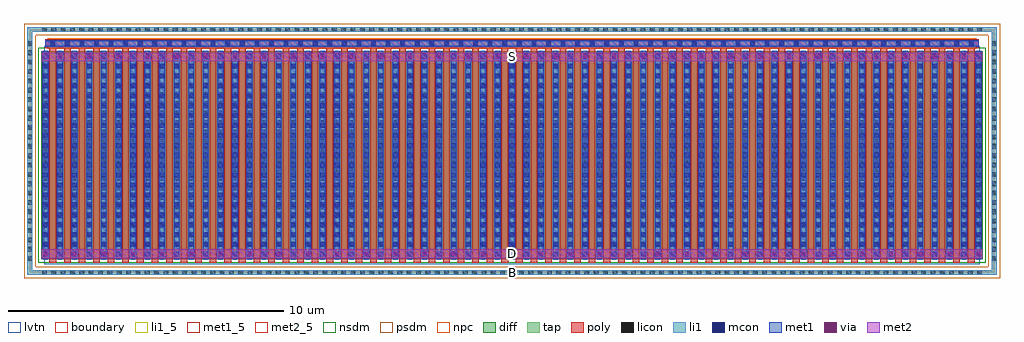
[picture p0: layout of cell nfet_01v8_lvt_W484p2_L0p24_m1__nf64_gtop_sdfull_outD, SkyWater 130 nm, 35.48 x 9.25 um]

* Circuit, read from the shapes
.subckt nfet_01v8_lvt_W484p2_L0p24_m1__nf64_gtop_sdfull_outD B D G S
XM1 S G D B sky130_fd_pr__nfet_01v8_lvt w=7.57 l=0.24 m=64
.ends

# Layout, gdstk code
import gdstk
lib = gdstk.Library(unit=1e-6, precision=1e-09)
def R(c, l, rs):  # rectangles x0, y0, x1, y1
    for r in rs: c.add(gdstk.rectangle(r[:2], r[2:], *l))
def A(c, l, x, y, w, h, nx, ny, dx, dy):  # array of equal rectangles
    R(c, l, [(x+i*dx, y+j*dy, x+i*dx+w, y+j*dy+h) for i in range(nx) for j in range(ny)])
diff = (65, 20)
tap = (65, 44)
poly = (66, 20)
licon = (66, 44)
li1_5 = (67, 5)
li1 = (67, 20)
mcon = (67, 44)
met1_5 = (68, 5)
met1 = (68, 20)
via = (68, 44)
met2_5 = (69, 5)
met2 = (69, 20)
nsdm = (93, 44)
psdm = (94, 20)
npc = (95, 20)
lvtn = (125, 44)
boundary = (235, 4)

sky130_fd_pr__nfet_01v8_ = lib.new_cell('sky130_fd_pr__nfet_01v8_lvt_552Z99')
R(sky130_fd_pr__nfet_01v8_, diff, [(-17.105,-3.94,17.105,3.63)])
R(sky130_fd_pr__nfet_01v8_, tap, [(-17.615,-4.5,17.615,-4.33), (-17.615,-4.33,-17.445,4.33), (17.445,-4.33,17.615,4.33), (-17.615,4.33,17.615,4.5)])
A(sky130_fd_pr__nfet_01v8_, poly, -16.815, -4.07, 0.24, 7.81, 64, 1, 0.53, 0)
R(sky130_fd_pr__nfet_01v8_, poly, [(-16.96,3.74,16.96,4.07)])
A(sky130_fd_pr__nfet_01v8_, licon, -17.085, -4.5, 0.17, 0.17, 101, 2, 0.34, 8.83)
A(sky130_fd_pr__nfet_01v8_, licon, -17.615, -3.995, 0.17, 0.17, 1, 24, 0, 0.34)
A(sky130_fd_pr__nfet_01v8_, licon, 17.445, -3.995, 0.17, 0.17, 1, 24, 0, 0.34)
A(sky130_fd_pr__nfet_01v8_, licon, -17.045, -3.81, 0.17, 0.17, 65, 22, 0.53, 0.34)
A(sky130_fd_pr__nfet_01v8_, licon, -16.78, 3.82, 0.17, 0.17, 64, 1, 0.53, 0)
A(sky130_fd_pr__nfet_01v8_, li1, -17.045, -3.96, 0.17, 7.61, 65, 1, 0.53, 0)
R(sky130_fd_pr__nfet_01v8_, li1, [(-17.615,-4.5,17.615,-4.33), (-17.615,-4.33,-17.445,4.33), (17.445,-4.33,17.615,4.33), (-16.96,3.82,16.96,3.99), (-17.615,4.33,17.615,4.5)])
A(sky130_fd_pr__nfet_01v8_, mcon, -17.045, -3.84, 0.17, 0.17, 65, 21, 0.53, 0.36)
A(sky130_fd_pr__nfet_01v8_, mcon, -16.78, 3.82, 0.17, 0.17, 64, 1, 0.53, 0)
A(sky130_fd_pr__nfet_01v8_, met1, -17.075, -3.94, 0.23, 7.57, 65, 1, 0.53, 0)
A(sky130_fd_pr__nfet_01v8_, met1, -16.84, 3.79, 0.29, 0.03, 64, 2, 0.53, 0.2)
R(sky130_fd_pr__nfet_01v8_, met1, [(-16.96,3.82,16.96,3.99)])
R(sky130_fd_pr__nfet_01v8_, nsdm, [(-17.23,-4.065,17.23,3.755)])
R(sky130_fd_pr__nfet_01v8_, psdm, [(-17.74,-4.625,17.74,-4.205), (-17.74,-4.205,-17.32,4.205), (17.32,-4.205,17.74,4.205), (-17.74,4.205,17.74,4.625)])
R(sky130_fd_pr__nfet_01v8_, npc, [(-16.88,3.72,16.88,4.09)])
R(sky130_fd_pr__nfet_01v8_, lvtn, [(-16.995,-4.12,16.995,3.81)])
R(sky130_fd_pr__nfet_01v8_, boundary, [(-17.53,-4.415,17.53,4.415)])
sky130_fd_pr__nfet_01v8_.add(gdstk.Label('B', (0,-4.415), layer=67, texttype=5))
sky130_fd_pr__nfet_01v8_.add(gdstk.Label('D0', (-16.96,-0.155), layer=67, texttype=5))
sky130_fd_pr__nfet_01v8_.add(gdstk.Label('G', (16.695,3.905), layer=67, texttype=5))
sky130_fd_pr__nfet_01v8_.add(gdstk.Label('G', (16.165,3.905), layer=67, texttype=5))
sky130_fd_pr__nfet_01v8_.add(gdstk.Label('G', (15.635,3.905), layer=67, texttype=5))
sky130_fd_pr__nfet_01v8_.add(gdstk.Label('G', (15.105,3.905), layer=67, texttype=5))
sky130_fd_pr__nfet_01v8_.add(gdstk.Label('G', (14.575,3.905), layer=67, texttype=5))
sky130_fd_pr__nfet_01v8_.add(gdstk.Label('G', (14.045,3.905), layer=67, texttype=5))
sky130_fd_pr__nfet_01v8_.add(gdstk.Label('G', (13.515,3.905), layer=67, texttype=5))
sky130_fd_pr__nfet_01v8_.add(gdstk.Label('G', (12.985,3.905), layer=67, texttype=5))
sky130_fd_pr__nfet_01v8_.add(gdstk.Label('G', (12.455,3.905), layer=67, texttype=5))
sky130_fd_pr__nfet_01v8_.add(gdstk.Label('G', (11.925,3.905), layer=67, texttype=5))
sky130_fd_pr__nfet_01v8_.add(gdstk.Label('G', (11.395,3.905), layer=67, texttype=5))
sky130_fd_pr__nfet_01v8_.add(gdstk.Label('G', (10.865,3.905), layer=67, texttype=5))
sky130_fd_pr__nfet_01v8_.add(gdstk.Label('G', (10.335,3.905), layer=67, texttype=5))
sky130_fd_pr__nfet_01v8_.add(gdstk.Label('G', (9.805,3.905), layer=67, texttype=5))
sky130_fd_pr__nfet_01v8_.add(gdstk.Label('G', (9.275,3.905), layer=67, texttype=5))
sky130_fd_pr__nfet_01v8_.add(gdstk.Label('G', (8.745,3.905), layer=67, texttype=5))
sky130_fd_pr__nfet_01v8_.add(gdstk.Label('G', (8.215,3.905), layer=67, texttype=5))
sky130_fd_pr__nfet_01v8_.add(gdstk.Label('G', (7.685,3.905), layer=67, texttype=5))
sky130_fd_pr__nfet_01v8_.add(gdstk.Label('G', (7.155,3.905), layer=67, texttype=5))
sky130_fd_pr__nfet_01v8_.add(gdstk.Label('G', (6.625,3.905), layer=67, texttype=5))
sky130_fd_pr__nfet_01v8_.add(gdstk.Label('G', (6.095,3.905), layer=67, texttype=5))
sky130_fd_pr__nfet_01v8_.add(gdstk.Label('G', (5.565,3.905), layer=67, texttype=5))
sky130_fd_pr__nfet_01v8_.add(gdstk.Label('G', (5.035,3.905), layer=67, texttype=5))
sky130_fd_pr__nfet_01v8_.add(gdstk.Label('G', (4.505,3.905), layer=67, texttype=5))
sky130_fd_pr__nfet_01v8_.add(gdstk.Label('G', (3.975,3.905), layer=67, texttype=5))
sky130_fd_pr__nfet_01v8_.add(gdstk.Label('G', (3.445,3.905), layer=67, texttype=5))
sky130_fd_pr__nfet_01v8_.add(gdstk.Label('G', (2.915,3.905), layer=67, texttype=5))
sky130_fd_pr__nfet_01v8_.add(gdstk.Label('G', (2.385,3.905), layer=67, texttype=5))
sky130_fd_pr__nfet_01v8_.add(gdstk.Label('G', (1.855,3.905), layer=67, texttype=5))
sky130_fd_pr__nfet_01v8_.add(gdstk.Label('G', (1.325,3.905), layer=67, texttype=5))
sky130_fd_pr__nfet_01v8_.add(gdstk.Label('G', (0.795,3.905), layer=67, texttype=5))
sky130_fd_pr__nfet_01v8_.add(gdstk.Label('G', (0.265,3.905), layer=67, texttype=5))
sky130_fd_pr__nfet_01v8_.add(gdstk.Label('G', (-0.265,3.905), layer=67, texttype=5))
sky130_fd_pr__nfet_01v8_.add(gdstk.Label('G', (-0.795,3.905), layer=67, texttype=5))
sky130_fd_pr__nfet_01v8_.add(gdstk.Label('G', (-1.325,3.905), layer=67, texttype=5))
sky130_fd_pr__nfet_01v8_.add(gdstk.Label('G', (-1.855,3.905), layer=67, texttype=5))
sky130_fd_pr__nfet_01v8_.add(gdstk.Label('G', (-2.385,3.905), layer=67, texttype=5))
sky130_fd_pr__nfet_01v8_.add(gdstk.Label('G', (-2.915,3.905), layer=67, texttype=5))
sky130_fd_pr__nfet_01v8_.add(gdstk.Label('G', (-3.445,3.905), layer=67, texttype=5))
sky130_fd_pr__nfet_01v8_.add(gdstk.Label('G', (-3.975,3.905), layer=67, texttype=5))
sky130_fd_pr__nfet_01v8_.add(gdstk.Label('G', (-4.505,3.905), layer=67, texttype=5))
sky130_fd_pr__nfet_01v8_.add(gdstk.Label('G', (-5.035,3.905), layer=67, texttype=5))
sky130_fd_pr__nfet_01v8_.add(gdstk.Label('G', (-5.565,3.905), layer=67, texttype=5))
sky130_fd_pr__nfet_01v8_.add(gdstk.Label('G', (-6.095,3.905), layer=67, texttype=5))
sky130_fd_pr__nfet_01v8_.add(gdstk.Label('G', (-6.625,3.905), layer=67, texttype=5))
sky130_fd_pr__nfet_01v8_.add(gdstk.Label('G', (-7.155,3.905), layer=67, texttype=5))
sky130_fd_pr__nfet_01v8_.add(gdstk.Label('G', (-7.685,3.905), layer=67, texttype=5))
sky130_fd_pr__nfet_01v8_.add(gdstk.Label('G', (-8.215,3.905), layer=67, texttype=5))
sky130_fd_pr__nfet_01v8_.add(gdstk.Label('G', (-8.745,3.905), layer=67, texttype=5))
sky130_fd_pr__nfet_01v8_.add(gdstk.Label('G', (-9.275,3.905), layer=67, texttype=5))
sky130_fd_pr__nfet_01v8_.add(gdstk.Label('G', (-9.805,3.905), layer=67, texttype=5))
sky130_fd_pr__nfet_01v8_.add(gdstk.Label('G', (-10.335,3.905), layer=67, texttype=5))
sky130_fd_pr__nfet_01v8_.add(gdstk.Label('G', (-10.865,3.905), layer=67, texttype=5))
sky130_fd_pr__nfet_01v8_.add(gdstk.Label('G', (-11.395,3.905), layer=67, texttype=5))
sky130_fd_pr__nfet_01v8_.add(gdstk.Label('G', (-11.925,3.905), layer=67, texttype=5))
sky130_fd_pr__nfet_01v8_.add(gdstk.Label('G', (-12.455,3.905), layer=67, texttype=5))
sky130_fd_pr__nfet_01v8_.add(gdstk.Label('G', (-12.985,3.905), layer=67, texttype=5))
sky130_fd_pr__nfet_01v8_.add(gdstk.Label('G', (-13.515,3.905), layer=67, texttype=5))
sky130_fd_pr__nfet_01v8_.add(gdstk.Label('G', (-14.045,3.905), layer=67, texttype=5))
sky130_fd_pr__nfet_01v8_.add(gdstk.Label('G', (-14.575,3.905), layer=67, texttype=5))
sky130_fd_pr__nfet_01v8_.add(gdstk.Label('G', (-15.105,3.905), layer=67, texttype=5))
sky130_fd_pr__nfet_01v8_.add(gdstk.Label('G', (-15.635,3.905), layer=67, texttype=5))
sky130_fd_pr__nfet_01v8_.add(gdstk.Label('G', (-16.165,3.905), layer=67, texttype=5))
sky130_fd_pr__nfet_01v8_.add(gdstk.Label('G', (-16.695,3.905), layer=67, texttype=5))
sky130_fd_pr__nfet_01v8_.add(gdstk.Label('S1', (-16.43,-0.155), layer=67, texttype=5))
sky130_fd_pr__nfet_01v8_.add(gdstk.Label('D2', (-15.9,-0.155), layer=67, texttype=5))
sky130_fd_pr__nfet_01v8_.add(gdstk.Label('S3', (-15.37,-0.155), layer=67, texttype=5))
sky130_fd_pr__nfet_01v8_.add(gdstk.Label('D4', (-14.84,-0.155), layer=67, texttype=5))
sky130_fd_pr__nfet_01v8_.add(gdstk.Label('S5', (-14.31,-0.155), layer=67, texttype=5))
sky130_fd_pr__nfet_01v8_.add(gdstk.Label('D6', (-13.78,-0.155), layer=67, texttype=5))
sky130_fd_pr__nfet_01v8_.add(gdstk.Label('S7', (-13.25,-0.155), layer=67, texttype=5))
sky130_fd_pr__nfet_01v8_.add(gdstk.Label('D8', (-12.72,-0.155), layer=67, texttype=5))
sky130_fd_pr__nfet_01v8_.add(gdstk.Label('S9', (-12.19,-0.155), layer=67, texttype=5))
sky130_fd_pr__nfet_01v8_.add(gdstk.Label('D10', (-11.66,-0.155), layer=67, texttype=5))
sky130_fd_pr__nfet_01v8_.add(gdstk.Label('S11', (-11.13,-0.155), layer=67, texttype=5))
sky130_fd_pr__nfet_01v8_.add(gdstk.Label('D12', (-10.6,-0.155), layer=67, texttype=5))
sky130_fd_pr__nfet_01v8_.add(gdstk.Label('S13', (-10.07,-0.155), layer=67, texttype=5))
sky130_fd_pr__nfet_01v8_.add(gdstk.Label('D14', (-9.54,-0.155), layer=67, texttype=5))
sky130_fd_pr__nfet_01v8_.add(gdstk.Label('S15', (-9.01,-0.155), layer=67, texttype=5))
sky130_fd_pr__nfet_01v8_.add(gdstk.Label('D16', (-8.48,-0.155), layer=67, texttype=5))
sky130_fd_pr__nfet_01v8_.add(gdstk.Label('S17', (-7.95,-0.155), layer=67, texttype=5))
sky130_fd_pr__nfet_01v8_.add(gdstk.Label('D18', (-7.42,-0.155), layer=67, texttype=5))
sky130_fd_pr__nfet_01v8_.add(gdstk.Label('S19', (-6.89,-0.155), layer=67, texttype=5))
sky130_fd_pr__nfet_01v8_.add(gdstk.Label('D20', (-6.36,-0.155), layer=67, texttype=5))
sky130_fd_pr__nfet_01v8_.add(gdstk.Label('S21', (-5.83,-0.155), layer=67, texttype=5))
sky130_fd_pr__nfet_01v8_.add(gdstk.Label('D22', (-5.3,-0.155), layer=67, texttype=5))
sky130_fd_pr__nfet_01v8_.add(gdstk.Label('S23', (-4.77,-0.155), layer=67, texttype=5))
sky130_fd_pr__nfet_01v8_.add(gdstk.Label('D24', (-4.24,-0.155), layer=67, texttype=5))
sky130_fd_pr__nfet_01v8_.add(gdstk.Label('S25', (-3.71,-0.155), layer=67, texttype=5))
sky130_fd_pr__nfet_01v8_.add(gdstk.Label('D26', (-3.18,-0.155), layer=67, texttype=5))
sky130_fd_pr__nfet_01v8_.add(gdstk.Label('S27', (-2.65,-0.155), layer=67, texttype=5))
sky130_fd_pr__nfet_01v8_.add(gdstk.Label('D28', (-2.12,-0.155), layer=67, texttype=5))
sky130_fd_pr__nfet_01v8_.add(gdstk.Label('S29', (-1.59,-0.155), layer=67, texttype=5))
sky130_fd_pr__nfet_01v8_.add(gdstk.Label('D30', (-1.06,-0.155), layer=67, texttype=5))
sky130_fd_pr__nfet_01v8_.add(gdstk.Label('S31', (-0.53,-0.155), layer=67, texttype=5))
sky130_fd_pr__nfet_01v8_.add(gdstk.Label('D32', (0,-0.155), layer=67, texttype=5))
sky130_fd_pr__nfet_01v8_.add(gdstk.Label('S33', (0.53,-0.155), layer=67, texttype=5))
sky130_fd_pr__nfet_01v8_.add(gdstk.Label('D34', (1.06,-0.155), layer=67, texttype=5))
sky130_fd_pr__nfet_01v8_.add(gdstk.Label('S35', (1.59,-0.155), layer=67, texttype=5))
sky130_fd_pr__nfet_01v8_.add(gdstk.Label('D36', (2.12,-0.155), layer=67, texttype=5))
sky130_fd_pr__nfet_01v8_.add(gdstk.Label('S37', (2.65,-0.155), layer=67, texttype=5))
sky130_fd_pr__nfet_01v8_.add(gdstk.Label('D38', (3.18,-0.155), layer=67, texttype=5))
sky130_fd_pr__nfet_01v8_.add(gdstk.Label('S39', (3.71,-0.155), layer=67, texttype=5))
sky130_fd_pr__nfet_01v8_.add(gdstk.Label('D40', (4.24,-0.155), layer=67, texttype=5))
sky130_fd_pr__nfet_01v8_.add(gdstk.Label('S41', (4.77,-0.155), layer=67, texttype=5))
sky130_fd_pr__nfet_01v8_.add(gdstk.Label('D42', (5.3,-0.155), layer=67, texttype=5))
sky130_fd_pr__nfet_01v8_.add(gdstk.Label('S43', (5.83,-0.155), layer=67, texttype=5))
sky130_fd_pr__nfet_01v8_.add(gdstk.Label('D44', (6.36,-0.155), layer=67, texttype=5))
sky130_fd_pr__nfet_01v8_.add(gdstk.Label('S45', (6.89,-0.155), layer=67, texttype=5))
sky130_fd_pr__nfet_01v8_.add(gdstk.Label('D46', (7.42,-0.155), layer=67, texttype=5))
sky130_fd_pr__nfet_01v8_.add(gdstk.Label('S47', (7.95,-0.155), layer=67, texttype=5))
sky130_fd_pr__nfet_01v8_.add(gdstk.Label('D48', (8.48,-0.155), layer=67, texttype=5))
sky130_fd_pr__nfet_01v8_.add(gdstk.Label('S49', (9.01,-0.155), layer=67, texttype=5))
sky130_fd_pr__nfet_01v8_.add(gdstk.Label('D50', (9.54,-0.155), layer=67, texttype=5))
sky130_fd_pr__nfet_01v8_.add(gdstk.Label('S51', (10.07,-0.155), layer=67, texttype=5))
sky130_fd_pr__nfet_01v8_.add(gdstk.Label('D52', (10.6,-0.155), layer=67, texttype=5))
sky130_fd_pr__nfet_01v8_.add(gdstk.Label('S53', (11.13,-0.155), layer=67, texttype=5))
sky130_fd_pr__nfet_01v8_.add(gdstk.Label('D54', (11.66,-0.155), layer=67, texttype=5))
sky130_fd_pr__nfet_01v8_.add(gdstk.Label('S55', (12.19,-0.155), layer=67, texttype=5))
sky130_fd_pr__nfet_01v8_.add(gdstk.Label('D56', (12.72,-0.155), layer=67, texttype=5))
sky130_fd_pr__nfet_01v8_.add(gdstk.Label('S57', (13.25,-0.155), layer=67, texttype=5))
sky130_fd_pr__nfet_01v8_.add(gdstk.Label('D58', (13.78,-0.155), layer=67, texttype=5))
sky130_fd_pr__nfet_01v8_.add(gdstk.Label('S59', (14.31,-0.155), layer=67, texttype=5))
sky130_fd_pr__nfet_01v8_.add(gdstk.Label('D60', (14.84,-0.155), layer=67, texttype=5))
sky130_fd_pr__nfet_01v8_.add(gdstk.Label('S61', (15.37,-0.155), layer=67, texttype=5))
sky130_fd_pr__nfet_01v8_.add(gdstk.Label('D62', (15.9,-0.155), layer=67, texttype=5))
sky130_fd_pr__nfet_01v8_.add(gdstk.Label('S63', (16.43,-0.155), layer=67, texttype=5))

nfet_01v8_lvt_w484p2_l0p = lib.new_cell('nfet_01v8_lvt_W484p2_L0p24_m1__nf64_gtop_sdfull_outD')
R(nfet_01v8_lvt_w484p2_l0p, li1_5, [(17.445,-0.085,17.615,0.085)])
R(nfet_01v8_lvt_w484p2_l0p, li1, [(17.445,-0.085,17.615,0.085)])
R(nfet_01v8_lvt_w484p2_l0p, met1_5, [(0.57,8.205,34.49,8.435)])
A(nfet_01v8_lvt_w484p2_l0p, met1, 0.44, 0.525, 0.26, 0.32, 33, 1, 1.06, 0)
A(nfet_01v8_lvt_w484p2_l0p, met1, 0.97, 7.675, 0.26, 0.32, 32, 1, 1.06, 0)
R(nfet_01v8_lvt_w484p2_l0p, met1, [(0.57,8.205,34.49,8.435)])
A(nfet_01v8_lvt_w484p2_l0p, via, 0.495, 0.61, 0.15, 0.15, 33, 1, 1.06, 0)
A(nfet_01v8_lvt_w484p2_l0p, via, 1.025, 7.76, 0.15, 0.15, 32, 1, 1.06, 0)
R(nfet_01v8_lvt_w484p2_l0p, met2_5, [(0.435,0.525,34.625,0.845), (0.435,7.675,34.625,7.995)])
R(nfet_01v8_lvt_w484p2_l0p, met2, [(0.435,0.525,34.625,0.845), (0.435,7.675,34.625,7.995)])
nfet_01v8_lvt_w484p2_l0p.add(gdstk.Reference(sky130_fd_pr__nfet_01v8_, (17.53,4.415)))
nfet_01v8_lvt_w484p2_l0p.add(gdstk.Label('S', (17.53,7.835), layer=69, texttype=5))
nfet_01v8_lvt_w484p2_l0p.add(gdstk.Label('D', (17.53,0.685), layer=69, texttype=5))
nfet_01v8_lvt_w484p2_l0p.add(gdstk.Label('G', (17.53,8.32), layer=68, texttype=5))
nfet_01v8_lvt_w484p2_l0p.add(gdstk.Label('B', (17.53,0), layer=67, texttype=5))

lib.write_gds('nfet_01v8_lvt_W484p2_L0p24_m1__nf64_gtop_sdfull_outD.gds')
